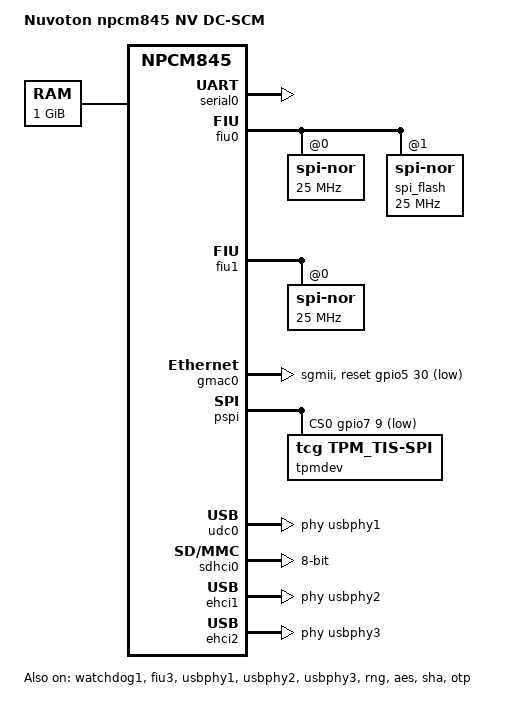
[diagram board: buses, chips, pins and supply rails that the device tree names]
// SPDX-License-Identifier: GPL-2.0
// Copyright (c) 2025 Nuvoton Technology

/dts-v1/;

#include <dt-bindings/phy/nuvoton,npcm-usbphy.h>
#include "nuvoton-npcm845.dtsi"
#include "nuvoton-npcm845-gb200nvl-scm-pincfg.dtsi"

/ {
	model = "Nuvoton npcm845 NV DC-SCM";
	compatible = "nuvoton,npcm845";

	aliases {
		serial0 = &serial0;
		ethernet0 = &gmac0;
		spi0 = &fiu0;
		spi1 = &fiu1;
		spi3 = &fiu3;
		spi4 = &pspi;
		usb0 = &udc0;
		usb1 = &ehci1;
		usb2 = &ehci2;
	};

	chosen {
		stdout-path = &serial0;
	};

	memory {
		reg = <0x0 0x0 0x0 0x40000000>;
	};

	firmware {
		optee {
			compatible = "linaro,optee-tz";
			method = "smc";
		};
	};

	vsbr2: vsbr2 {
		compatible = "regulator-npcm845";
		regulator-name = "vr2";
		regulator-min-microvolt = <1800000>;
		regulator-max-microvolt = <3300000>;
		regulator-always-on;
	};

	vsbv8: vsbv8 {
		compatible = "regulator-npcm845";
		regulator-name = "v8";
		regulator-min-microvolt = <1800000>;
		regulator-max-microvolt = <3300000>;
		regulator-always-on;
	};

	vsbv5: vsbv5 {
		compatible = "regulator-npcm845";
		regulator-name = "v5";
		regulator-min-microvolt = <1800000>;
		regulator-max-microvolt = <3300000>;
		regulator-always-on;
	};

};

&serial0 {
	status = "okay";
};

&watchdog1 {
	status = "okay";
};

&fiu0 {
	status = "okay";
	pinctrl-names = "default";
	pinctrl-0 = <&spi0cs1_pins>;
	spi-nor@0 {
		compatible = "jedec,spi-nor";
		reg = <0>;
		spi-max-frequency = <25000000>;
	};
	spi_flash@1 {
		compatible = "jedec,spi-nor";
		reg = <1>;
		spi-max-frequency = <25000000>;
	};
};

&fiu1 {
	status = "okay";
	spi-nor@0 {
		compatible = "jedec,spi-nor";
		reg = <0>;
		spi-max-frequency = <25000000>;
	};
};

&fiu3 {
	pinctrl-0 = <&spi3_pins>, <&spi3quad_pins>;
	status = "okay";
};

&gmac0 {
	phy-mode = "sgmii";
	snps,reset-active-low;
	snps,reset-delays-us = <0 10000 500000>;
	snps,reset-gpio = <&gpio5 30 GPIO_ACTIVE_LOW>;    /* gpio190 */
	status = "okay";
};

&pspi {
	status = "okay";
	cs-gpios = <&gpio7 9 GPIO_ACTIVE_LOW>;
	spi-max-frequency = <1000000>;
	pinctrl-names = "default";
	pinctrl-0 = <&pspi_pins
		     &pspi_di_slew
		     &pspi_d0_slew
		     &pspi_ck_slew>;
	tpmdev@0 {
		compatible = "tcg,tpm_tis-spi";
		reg = <0>;
	};
};

&usbphy1 {
	status = "okay";
};

&usbphy2 {
	status = "okay";
};

&usbphy3 {
	status = "okay";
};

&udc0 {
	status = "okay";
	phys = <&usbphy1 NPCM_UDC0_7>;
};

&sdhci0 {
	bus-width = <0x8>;
	status = "okay";
};

&ehci1 {
	status = "okay";
	phys = <&usbphy2 NPCM_USBH1>;
};

&ehci2 {
	status = "okay";
	phys = <&usbphy3 NPCM_USBH2>;
};

&rng {
	status = "okay";
};

&aes {
	status = "okay";
};

&sha {
	status = "okay";
};

&otp {
	status = "okay";
};

&pinctrl {
        pinctrl-names = "default";
        pinctrl-0 = <&vcdhs_pins
			&smb11ddcs_pins
		    &vgadig_pins
		     &espi_pins
		     &r1_pins
		     &r1en_pins
		     &r1oen_pins
		     &gpio8o_pins
		     &gpio16_pins
		     &gpio39o_pins
		     &gpio40_pins
		     &gpio65o_pins
		     &gpio66ol_pins
		     &gpio67ol_pins
		     &gpio68oh_pins
		     &gpio69ol_pins
		     &gpio70o_pins
		     &gpio71_pins
		     &gpio72o_pins
		     &gpio73oh_pins
		     &gpio74ol_pins
		     &gpio75oh_pins
		     &gpio78_pins
		     &gpio79o_pins
		     &gpio81ol_pins
		     &gpio82ol_pins
		     &gpio83o_pins
		     &gpio86o_pins
		     &gpio95_pins
		     &gpio127_pins
		     &gpio144_pins
		     &gpio155o_pins
		     &gpio161_pins
		     &gpio163_pins
		     &gpio168o_pins
		     &gpio187o_pins
		     &gpio233o_pins
			 &spi1d2_slew
			 &spi1d3_slew
			 &spi1ck_ds
			 &spi1d0_ds
			 &spi1d1_ds>;
};
